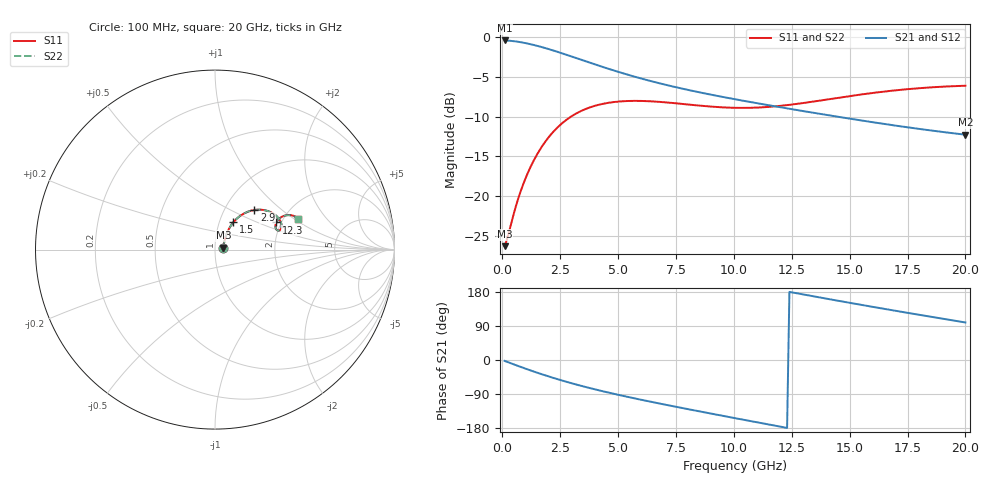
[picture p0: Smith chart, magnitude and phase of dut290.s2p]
! Touchstone file exported from HFSS 2023.1.0
!  File:  D:/Users/fzz/RDL_TSV/temp_RDL_TSV_290_1778763492.aedt
!  Generated:  9:09:18 %x4E0B%x5348  5%x6708 14, 2026
!  Design:  RDL_TSV
!  Project:  temp_RDL_TSV_290_1778763492
!  Setup:  Setup1
!  Solution:  Sweep
! Variables:
!  dtsv = 12.34um
!  hbump = 3um
!  htsv = 58.59um
!  ldown = 520.1um
!  lrdl = 589.14um
!  p = 40
!  p1 = 54.15um
!  rhole = 10um
!  subl = 3916.86um
!  t = 450um
!  tdown = 2.62um
!  trdl = 2.36um
!  viad = 10um
!  wdown = 12.99um
!  wrdl = 10.6um
!  xbump = 18um
# GHz S MA R 50.000000
! Terminal data exported
! Port[1] = TM1_1_T1
! Port[2] = TM1_4_T1
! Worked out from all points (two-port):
!   200 points, 100 MHz to 20 GHz, reference 50 ohm
!   highest |S21| = -0.42 dB at 100 MHz (marker M1); lowest = -12.3 dB at 20 GHz (marker M2)
!   |S21| within 3 dB of the highest: start of sweep to 3.991 GHz
!   lowest |S11| = -26.3 dB at 100 MHz (marker M3), VSWR 1.10, Z = 54.9 + j1.27 ohm
!   |S11| at or under -10 dB: start of sweep to 2.966 GHz
!   |S22| runs from -26.3 to -6.1 dB; largest |S21 - S12| = 9.5e-15
!   S11 on the Smith chart (normalised r, x): 100 MHz: 1.10, +0.03; 1.5 GHz: 1.16, +0.37; 2.9 GHz: 1.37, +0.67; 12.3 GHz: 1.89, +0.66; 20 GHz: 2.39, +1.08
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0.1  0.04847 13.8  0.9528 -2.4  0.9528 -2.4  0.04847 13.8
! Gamma 0 0 0 0
! Port Impedance 50 0 50 0
0.2  0.05329 25.5  0.9514 -4.7  0.9514 -4.7  0.05329 25.5
0.4  0.06872 41.0  0.9463 -9.3  0.9463 -9.3  0.06872 41.0
0.8  0.108 53.4  0.9288 -18.4  0.9288 -18.4  0.108 53.4
1.1  0.1398 56.1  0.9108 -24.9  0.9108 -24.9  0.1398 56.1
1.5  0.1827 56.2  0.8821 -33.4  0.8821 -33.4  0.1827 56.2
2.2  0.2536 51.7  0.8241 -47.2  0.8241 -47.2  0.2536 51.6
2.9  0.3116 45.1  0.7632 -59.8  0.7632 -59.8  0.3117 45.1
3.5  0.3483 39.3  0.7129 -69.7  0.7129 -69.7  0.3483 39.3
4.2  0.3766 33.2  0.659 -80.4  0.659 -80.4  0.3766 33.2
5  0.3931 27.3  0.6052 -91.8  0.6052 -91.8  0.3931 27.2
5.9  0.3972 22.2  0.5542 -103.7  0.5542 -103.7  0.3972 22.2
6.8  0.3915 18.8  0.512 -115.0  0.512 -115.0  0.3915 18.7
8.4  0.3723 16.6  0.4532 -134.2  0.4532 -134.2  0.3724 16.5
10.1  0.3592 18.8  0.4055 -154.0  0.4055 -154.0  0.3592 18.7
11.2  0.3617 21.4  0.3796 -166.7  0.3796 -166.7  0.3616 21.3
12.3  0.3736 23.9  0.3563 -179.2  0.3563 -179.2  0.3735 23.8
13.4  0.3926 25.6  0.335 168.5  0.335 168.5  0.3924 25.5
15  0.4256 26.1  0.3072 150.9  0.3072 150.9  0.4252 26.0
16.7  0.4581 24.9  0.2816 132.8  0.2816 132.8  0.4575 24.8
18.3  0.4808 22.7  0.2612 116.2  0.2612 116.2  0.48 22.6
20  0.4947 20.2  0.2435 99.0  0.2435 99.0  0.4938 20.1
